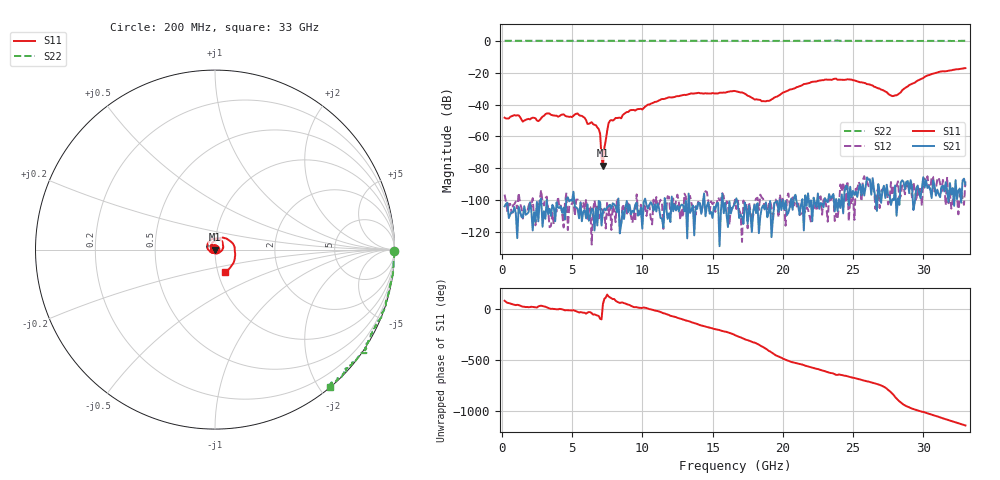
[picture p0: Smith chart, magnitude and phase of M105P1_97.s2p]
# GHZ S RI R 50
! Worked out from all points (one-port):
!   329 points, 200 MHz to 33 GHz, reference 50 ohm
!   lowest |S11| = -78.5 dB at 7.2 GHz (marker M1), VSWR 1.00, Z = 50 + j0.00917 ohm
!   |S11| at or under -10 dB: start of sweep to end of sweep
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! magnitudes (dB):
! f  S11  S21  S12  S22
! 200 MHz  -48.2  -103.9  -96.5  0.0
! 1.2 GHz  -46.8  -104.1  -95.4  0.0
! 1.5 GHz  -50.7  -111.0  -111.6  0.0
! 2.6 GHz  -50.4  -113.3  -106.2  0.0
! 3.3 GHz  -45.5  -108.9  -106.0  0.0
! 5.7 GHz  -47.1  -113.2  -104.4  0.0
! 6.9 GHz  -55.4  -100.5  -111.5  0.0
! 7 GHz  -58.3  -101.2  -102.6  0.0
! 7.1 GHz  -73.4  -115.9  -106.0  0.0
! 7.2 GHz  -78.5  -107.1  -105.9  0.0
! 7.3 GHz  -67.2  -105.3  -108.8  0.0
! 7.6 GHz  -51.7  -103.7  -109.5  0.0
! 7.7 GHz  -50.2  -103.0  -102.9  0.0
! 11.2 GHz  -37.3  -105.3  -102.0  0.0
! 16.6 GHz  -31.5  -101.9  -99.7  -0.1
! 18.8 GHz  -38.0  -101.4  -104.1  -0.1
! 22.1 GHz  -25.8  -113.2  -106.2  -0.1
! 24.9 GHz  -24.4  -98.1  -102.7  0.0
! 27.6 GHz  -33.9  -97.1  -100.6  -0.1
! 28.1 GHz  -34.2  -109.8  -91.0  -0.1
! 30.3 GHz  -21.8  -92.4  -85.0  0.0
! 33 GHz  -17.2  -90.2  -88.2  0.0
